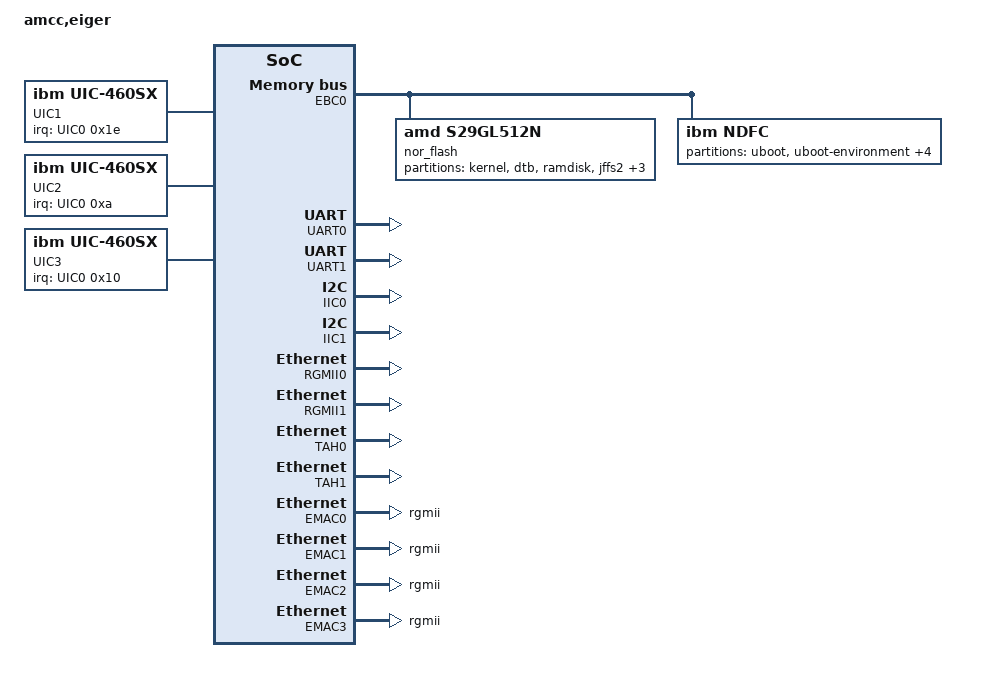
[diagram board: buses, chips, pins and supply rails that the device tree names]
/*
 * Device Tree Source for AMCC (AppliedMicro) Eiger(460SX)
 *
 * Copyright 2009 AMCC (AppliedMicro) <ttnguyen@amcc.com>
 *
 * This file is licensed under the terms of the GNU General Public
 * License version 2.  This program is licensed "as is" without
 * any warranty of any kind, whether express or implied.
 */

/dts-v1/;

/ {
	#address-cells = <2>;
	#size-cells = <1>;
	model = "amcc,eiger";
	compatible = "amcc,eiger";
	dcr-parent = <&{/cpus/cpu@0}>;

	aliases {
		ethernet0 = &EMAC0;
		ethernet1 = &EMAC1;
		ethernet2 = &EMAC2;
		ethernet3 = &EMAC3;
		serial0 = &UART0;
		serial1 = &UART1;
	};

	cpus {
		#address-cells = <1>;
		#size-cells = <0>;

		cpu@0 {
			device_type = "cpu";
			model = "PowerPC,460SX";
			reg = <0x00000000>;
			clock-frequency = <0>; /* Filled in by U-Boot */
			timebase-frequency = <0>; /* Filled in by U-Boot */
			i-cache-line-size = <32>;
			d-cache-line-size = <32>;
			i-cache-size = <32768>;
			d-cache-size = <32768>;
			dcr-controller;
			dcr-access-method = "native";
		};
	};

	memory {
		device_type = "memory";
		reg = <0x00000000 0x00000000 0x00000000>; /* Filled in by U-Boot */
	};

	UIC0: interrupt-controller0 {
		compatible = "ibm,uic-460sx","ibm,uic";
		interrupt-controller;
		cell-index = <0>;
		dcr-reg = <0x0c0 0x009>;
		#address-cells = <0>;
		#size-cells = <0>;
		#interrupt-cells = <2>;
	};

	UIC1: interrupt-controller1 {
		compatible = "ibm,uic-460sx","ibm,uic";
		interrupt-controller;
		cell-index = <1>;
		dcr-reg = <0x0d0 0x009>;
		#address-cells = <0>;
		#size-cells = <0>;
		#interrupt-cells = <2>;
		interrupts = <0x1e 0x4 0x1f 0x4>; /* cascade */
		interrupt-parent = <&UIC0>;
	};

	UIC2: interrupt-controller2 {
		compatible = "ibm,uic-460sx","ibm,uic";
		interrupt-controller;
		cell-index = <2>;
		dcr-reg = <0x0e0 0x009>;
		#address-cells = <0>;
		#size-cells = <0>;
		#interrupt-cells = <2>;
		interrupts = <0xa 0x4 0xb 0x4>; /* cascade */
		interrupt-parent = <&UIC0>;
	};

	UIC3: interrupt-controller3 {
		compatible = "ibm,uic-460sx","ibm,uic";
		interrupt-controller;
		cell-index = <3>;
		dcr-reg = <0x0f0 0x009>;
		#address-cells = <0>;
		#size-cells = <0>;
		#interrupt-cells = <2>;
		interrupts = <0x10 0x4 0x11 0x4>; /* cascade */
		interrupt-parent = <&UIC0>;
	};

	SDR0: sdr {
		compatible = "ibm,sdr-460sx";
		dcr-reg = <0x00e 0x002>;
	};

	CPR0: cpr {
		compatible = "ibm,cpr-460sx";
		dcr-reg = <0x00c 0x002>;
	};

	plb {
		compatible = "ibm,plb-460sx", "ibm,plb4";
		#address-cells = <2>;
		#size-cells = <1>;
		ranges;
		clock-frequency = <0>; /* Filled in by U-Boot */

		SDRAM0: sdram {
			compatible = "ibm,sdram-460sx", "ibm,sdram-405gp";
			dcr-reg = <0x010 0x002>;
		};

		MAL0: mcmal {
			compatible = "ibm,mcmal-460sx", "ibm,mcmal2";
			dcr-reg = <0x180 0x62>;
			num-tx-chans = <4>;
			num-rx-chans = <32>;
			#address-cells = <1>;
			#size-cells = <1>;
			interrupt-parent = <&UIC1>;
			interrupts = <	/*TXEOB*/ 0x6 0x4
					/*RXEOB*/ 0x7 0x4
					/*SERR*/  0x1 0x4
					/*TXDE*/  0x2 0x4
					/*RXDE*/  0x3 0x4
					/*COAL TX0*/ 0x18 0x2
					/*COAL TX1*/ 0x19 0x2
					/*COAL TX2*/ 0x1a 0x2
					/*COAL TX3*/ 0x1b 0x2
					/*COAL RX0*/ 0x1c 0x2
					/*COAL RX1*/ 0x1d 0x2
					/*COAL RX2*/ 0x1e 0x2
					/*COAL RX3*/ 0x1f 0x2>;
		};

		POB0: opb {
			compatible = "ibm,opb-460sx", "ibm,opb";
			#address-cells = <1>;
			#size-cells = <1>;
			ranges = <0xb0000000 0x00000004 0xb0000000 0x50000000>;
			clock-frequency = <0>; /* Filled in by U-Boot */

			EBC0: ebc {
				compatible = "ibm,ebc-460sx", "ibm,ebc";
				dcr-reg = <0x012 0x002>;
				#address-cells = <2>;
				#size-cells = <1>;
				clock-frequency = <0>; /* Filled in by U-Boot */
				/* ranges property is supplied by U-Boot */
				interrupts = <0x6 0x4>;
				interrupt-parent = <&UIC1>;

				nor_flash@0,0 {
					compatible = "amd,s29gl512n", "cfi-flash";
					bank-width = <2>;
					/* reg property is supplied in by U-Boot */
					#address-cells = <1>;
					#size-cells = <1>;
					partition@0 {
						label = "kernel";
						reg = <0x00000000 0x001e0000>;
					};
					partition@1e0000 {
						label = "dtb";
						reg = <0x001e0000 0x00020000>;
					};
					partition@200000 {
						label = "ramdisk";
						reg = <0x00200000 0x01400000>;
					};
					partition@1600000 {
						label = "jffs2";
						reg = <0x01600000 0x00400000>;
					};
					partition@1a00000 {
						label = "user";
						reg = <0x01a00000 0x02560000>;
					};
					partition@3f60000 {
						label = "env";
						reg = <0x03f60000 0x00040000>;
					};
					partition@3fa0000 {
						label = "u-boot";
						reg = <0x03fa0000 0x00060000>;
					};
				};

				ndfc@1,0 {
					compatible = "ibm,ndfc";
					/* reg property is supplied by U-boot */
					ccr = <0x00003000>;
					bank-settings = <0x80002222>;
					#address-cells = <1>;
					#size-cells = <1>;

					nand {
						#address-cells = <1>;
						#size-cells = <1>;
						partition@0 {
							label = "uboot";
							reg = <0x00000000 0x00200000>;
						};
						partition@200000 {
							label = "uboot-environment";
							reg = <0x00200000 0x00100000>;
						};
						partition@300000 {
							label = "linux";
							reg = <0x00300000 0x00300000>;
						};
						partition@600000 {
							label = "root-file-system";
							reg = <0x00600000 0x01900000>;
						};
						partition@1f00000 {
							label = "device-tree";
							reg = <0x01f00000 0x00020000>;
						};
						partition@1f20000 {
							label = "data";
							reg = <0x01f20000 0x060E0000>;
						};
					};
				};
			};

			UART0: serial@ef600200 {
				device_type = "serial";
				compatible = "ns16550";
				reg = <0xef600200 0x00000008>;
				virtual-reg = <0xef600200>;
				clock-frequency = <0>; /* Filled in by U-Boot */
				current-speed = <0>; /* Filled in by U-Boot */
				interrupt-parent = <&UIC0>;
				interrupts = <0x0 0x4>;
			};

			UART1: serial@ef600300 {
				device_type = "serial";
				compatible = "ns16550";
				reg = <0xef600300 0x00000008>;
				virtual-reg = <0xef600300>;
				clock-frequency = <0>; /* Filled in by U-Boot */
				current-speed = <0>; /* Filled in by U-Boot */
				interrupt-parent = <&UIC0>;
				interrupts = <0x1 0x4>;
			};

			IIC0: i2c@ef600400 {
				compatible = "ibm,iic-460sx", "ibm,iic";
				reg = <0xef600400 0x00000014>;
				interrupt-parent = <&UIC0>;
				interrupts = <0x2 0x4>;
				#address-cells = <1>;
				#size-cells = <0>;
				index = <0>;
			};

			IIC1: i2c@ef600500 {
				compatible = "ibm,iic-460sx", "ibm,iic";
				reg = <0xef600500 0x00000014>;
				interrupt-parent = <&UIC0>;
				interrupts = <0x3 0x4>;
				#address-cells = <1>;
				#size-cells = <0>;
				index = <1>;
			};

			RGMII0: emac-rgmii@ef600900 {
				compatible = "ibm,rgmii-460sx", "ibm,rgmii";
				reg = <0xef600900 0x00000008>;
				has-mdio;
			};

			RGMII1: emac-rgmii@ef600920 {
				compatible = "ibm,rgmii-460sx", "ibm,rgmii";
				reg = <0xef600920 0x00000008>;
				has-mdio;
			};

			TAH0: emac-tah@ef600e50 {
				compatible = "ibm,tah-460sx", "ibm,tah";
				reg = <0xef600e50 0x00000030>;
			};

			TAH1: emac-tah@ef600f50 {
				compatible = "ibm,tah-460sx", "ibm,tah";
				reg = <0xef600f50 0x00000030>;
			};

			EMAC0: ethernet@ef600a00 {
				device_type = "network";
				compatible = "ibm,emac-460sx", "ibm,emac4";
				interrupt-parent = <&EMAC0>;
				interrupts = <0x0 0x1>;
				#interrupt-cells = <1>;
				#address-cells = <0>;
				#size-cells = <0>;
				interrupt-map = </*Status*/ 0x0 &UIC0 0x13 0x4
						 /*Wake*/   0x1 &UIC2 0x1d 0x4>;
				reg = <0xef600a00 0x00000070>;
				local-mac-address = [000000000000]; /* Filled in by U-Boot */
				mal-device = <&MAL0>;
				mal-tx-channel = <0>;
				mal-rx-channel = <0>;
				cell-index = <0>;
				max-frame-size = <9000>;
				rx-fifo-size = <4096>;
				tx-fifo-size = <2048>;
				phy-mode = "rgmii";
				phy-map = <0x00000000>;
				rgmii-device = <&RGMII0>;
				rgmii-channel = <0>;
				tah-device = <&TAH0>;
				tah-channel = <0>;
				has-inverted-stacr-oc;
				has-new-stacr-staopc;
			};

			EMAC1: ethernet@ef600b00 {
				device_type = "network";
				compatible = "ibm,emac-460sx", "ibm,emac4";
				interrupt-parent = <&EMAC1>;
				interrupts = <0x0 0x1>;
				#interrupt-cells = <1>;
				#address-cells = <0>;
				#size-cells = <0>;
				interrupt-map = </*Status*/ 0x0 &UIC0 0x14 0x4
						 /*Wake*/   0x1 &UIC2 0x1d 0x4>;
				reg = <0xef600b00 0x00000070>;
				local-mac-address = [000000000000]; /* Filled in by U-Boot */
				mal-device = <&MAL0>;
				mal-tx-channel = <1>;
				mal-rx-channel = <8>;
				cell-index = <1>;
				max-frame-size = <9000>;
				rx-fifo-size = <4096>;
				tx-fifo-size = <2048>;
				phy-mode = "rgmii";
				phy-map = <0x00000000>;
				rgmii-device = <&RGMII0>;
				rgmii-channel = <1>;
				tah-device = <&TAH1>;
				tah-channel = <1>;
				has-inverted-stacr-oc;
				has-new-stacr-staopc;
				mdio-device = <&EMAC0>;
			};

			EMAC2: ethernet@ef600c00 {
				device_type = "network";
				compatible = "ibm,emac-460sx", "ibm,emac4";
				interrupt-parent = <&EMAC2>;
				interrupts = <0x0 0x1>;
				#interrupt-cells = <1>;
				#address-cells = <0>;
				#size-cells = <0>;
				interrupt-map = </*Status*/ 0x0 &UIC0 0x15 0x4
						 /*Wake*/   0x1 &UIC2 0x1d 0x4>;
				reg = <0xef600c00 0x00000070>;
				local-mac-address = [000000000000]; /* Filled in by U-Boot */
				mal-device = <&MAL0>;
				mal-tx-channel = <2>;
				mal-rx-channel = <16>;
				cell-index = <2>;
				max-frame-size = <9000>;
				rx-fifo-size = <4096>;
				tx-fifo-size = <2048>;
				phy-mode = "rgmii";
				phy-map = <0x00000000>;
				rgmii-device = <&RGMII1>;
				rgmii-channel = <0>;
				has-inverted-stacr-oc;
				has-new-stacr-staopc;
				mdio-device = <&EMAC0>;
			};

			EMAC3: ethernet@ef600d00 {
				device_type = "network";
				compatible = "ibm,emac-460sx", "ibm,emac4";
				interrupt-parent = <&EMAC3>;
				interrupts = <0x0 0x1>;
				#interrupt-cells = <1>;
				#address-cells = <0>;
				#size-cells = <0>;
				interrupt-map = </*Status*/ 0x0 &UIC0 0x16 0x4
						 /*Wake*/   0x1 &UIC2 0x1d 0x4>;
				reg = <0xef600d00 0x00000070>;
				local-mac-address = [000000000000]; /* Filled in by U-Boot */
				mal-device = <&MAL0>;
				mal-tx-channel = <3>;
				mal-rx-channel = <24>;
				cell-index = <3>;
				max-frame-size = <9000>;
				rx-fifo-size = <4096>;
				tx-fifo-size = <2048>;
				phy-mode = "rgmii";
				phy-map = <0x00000000>;
				rgmii-device = <&RGMII1>;
				rgmii-channel = <1>;
				has-inverted-stacr-oc;
				has-new-stacr-staopc;
				mdio-device = <&EMAC0>;
			};
		};

	};
	chosen {
		linux,stdout-path = "/plb/opb/serial@ef600200";
	};

};
